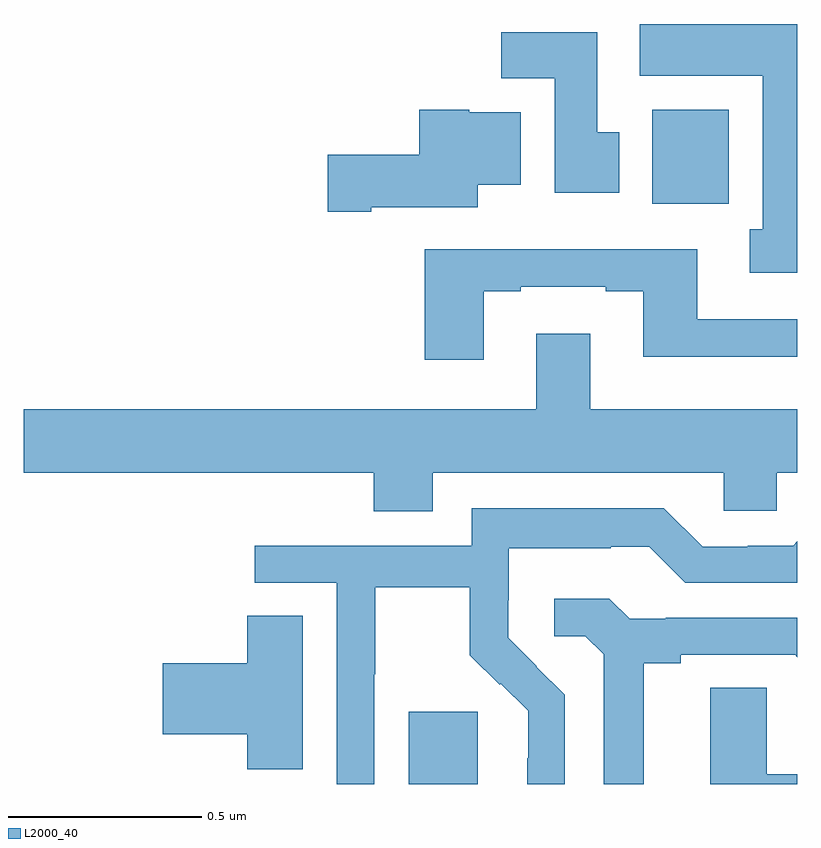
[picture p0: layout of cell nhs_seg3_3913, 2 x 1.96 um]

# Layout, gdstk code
import gdstk
lib = gdstk.Library(unit=1e-6, precision=1e-09)
def R(c, l, rs):  # rectangles x0, y0, x1, y1
    for r in rs: c.add(gdstk.rectangle(r[:2], r[2:], *l))
def P(c, l, *ps):  # polygons
    for p in ps: c.add(gdstk.Polygon(p, *l))
L2000_40 = (2000, 40)

nhs_seg3_3913 = lib.new_cell('nhs_seg3_3913')
R(nhs_seg3_3913, L2000_40, [(159.995,745.4,160.174,745.587), (160.625,746.9,160.822,747.142)])
P(nhs_seg3_3913, L2000_40, [(161,747.364),(160.593,747.364),(160.593,747.23),(160.91,747.23),(160.91,746.834),(160.877,746.834),(160.877,746.721),(161,746.721)],
  [(160.54,747.084),(160.483,747.084),(160.483,747.343),(160.234,747.343),(160.234,747.224),(160.373,747.224),(160.373,746.928),(160.54,746.928)],
  [(159.898,746.891),(160.174,746.891),(160.174,746.948),(160.285,746.948),(160.285,747.136),(160.152,747.136),(160.152,747.142),(160.022,747.142),(160.022,747.026),(159.786,747.026),(159.786,746.879),(159.898,746.879)],
  [(160.189,746.673),(160.285,746.673),(160.285,746.685),(160.505,746.685),(160.505,746.673),(160.601,746.673),(160.601,746.504),(161,746.504),(161,746.601),(160.741,746.601),(160.741,746.782),(160.037,746.782),(160.037,746.496),(160.189,746.496)],
  [(160.057,746.204),(160.809,746.204),(160.809,746.106),(160.947,746.106),(160.947,746.204),(161,746.204),(161,746.368),(160.465,746.368),(160.465,746.563),(160.325,746.563),(160.325,746.368),(159,746.368),(159,746.204),(159.905,746.204),(159.905,746.105),(160.057,746.105)],
  [(159.906,745.684),(159.909,745.684),(159.909,745.908),(160.153,745.908),(160.153,745.733),(160.23,745.656),(160.233,745.659),(160.304,745.589),(160.304,745.466),(160.302,745.466),(160.302,745.4),(160.398,745.4),(160.398,745.63),(160.325,745.703),(160.326,745.704),(160.252,745.778),(160.252,745.875),(160.254,745.875),(160.254,746.009),(160.517,746.009),(160.517,746.013),(160.617,746.013),(160.71,745.92),(161,745.92),(161,746.027),(160.989,746.016),(160.871,746.016),(160.871,746.013),(160.755,746.013),(160.655,746.113),(160.158,746.113),(160.158,746.016),(159.597,746.016),(159.597,745.92),(159.81,745.92),(159.81,745.4),(159.906,745.4)],
  [(160.603,745.712),(160.699,745.712),(160.699,745.734),(160.994,745.734),(161,745.728),(161,745.83),(160.66,745.83),(160.66,745.827),(160.566,745.827),(160.514,745.879),(160.371,745.879),(160.371,745.782),(160.452,745.782),(160.499,745.735),(160.499,745.4),(160.603,745.4)],
  [(159.721,745.835),(159.578,745.835),(159.578,745.712),(159.36,745.712),(159.36,745.529),(159.578,745.529),(159.578,745.438),(159.721,745.438)],
  [(161,745.425),(160.92,745.425),(160.92,745.649),(160.775,745.649),(160.775,745.4),(161,745.4)])

lib.write_gds('nhs_seg3_3913.gds')
